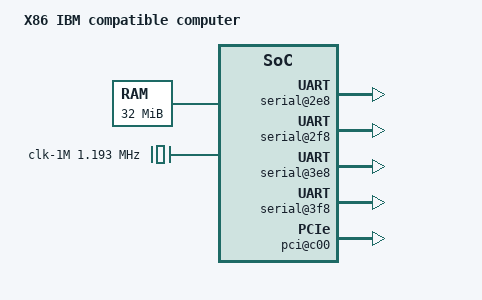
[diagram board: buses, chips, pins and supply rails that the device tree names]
/dts-v1/;

/ {
	model = "X86 IBM compatible computer";
	#address-cells = <0x01>;
	#size-cells = <0x01>;

	chosen {
	};

	memory@0 {
		device_type = "memory";
		reg = <0x00 0x2000000>;
	};

	clocks {

		clk-1M {
			#clock-cells = <0x00>;
			compatible = "fixed-clock";
			clock-frequency = <0x1234de>;
			phandle = <0x02>;
		};
	};

	isa {
		#address-cells = <0x01>;
		#size-cells = <0x01>;
		compatible = "isa-bus";

		dma-controller@0 {
			#dma-cells = <0x01>;
			compatible = "intel,i8237";
			reg = <0x00 0x20>;
			phandle = <0x04>;
		};

		interrupt-controller@20 {
			#interrupt-cells = <0x01>;
			#address-cells = <0x00>;
			compatible = "intel,i8259";
			reg = <0x20 0x20>;
			interrupt-controller;
			phandle = <0x01>;
		};

		timer@42 {
			compatible = "intel,i8253";
			reg = <0x40 0x20>;
			interrupt-parent = <0x01>;
			interrupts = <0x00>;
			clocks = <0x02>;
		};

		ps2@60 {
			compatible = "intel,i8042";
			reg = <0x60 0x08>;
			interrupt-names = "kbd\0aux";
			interrupts-extended = <0x01 0x01 0x03 0x04>;
		};

		rtc@71 {
			compatible = "motorola,mc146818";
			reg = <0x70 0x08>;
			interrupt-parent = <0x03>;
			interrupts = <0x00>;
		};

		interrupt-controller@a0 {
			#interrupt-cells = <0x01>;
			#address-cells = <0x00>;
			compatible = "intel,i8259";
			reg = <0xa0 0x20>;
			interrupt-controller;
			interrupt-parent = <0x01>;
			interrupts = <0x02>;
			phandle = <0x03>;
		};

		dma-controller@c0 {
			#dma-cells = <0x01>;
			compatible = "intel,i8237";
			reg = <0xc0 0x10>;
		};

		parallel@278 {
			compatible = "intel,i8255";
			reg = <0x278 0x08>;
			interrupt-parent = <0x01>;
			interrupts = <0x05>;
		};

		serial@2e8 {
			compatible = "intel,i8250";
			reg = <0x2e8 0x08>;
			interrupt-parent = <0x01>;
			interrupts = <0x03>;
		};

		serial@2f8 {
			compatible = "intel,i8250";
			reg = <0x2f8 0x08>;
			interrupt-parent = <0x01>;
			interrupts = <0x03>;
		};

		floppy@370 {
			compatible = "ibm,generic-floppy";
			reg = <0x370 0x08>;
			interrupt-parent = <0x01>;
			interrupts = <0x06>;
			dmas = <0x04 0x02>;
		};

		parallel@378 {
			compatible = "intel,i8255";
			reg = <0x378 0x08>;
			interrupt-parent = <0x01>;
			interrupts = <0x07>;
		};

		parallel@3bc {
			compatible = "intel,i8255";
			reg = <0x3bc 0x08>;
		};

		serial@3e8 {
			compatible = "intel,i8250";
			reg = <0x3e8 0x08>;
			interrupt-parent = <0x01>;
			interrupts = <0x04>;
		};

		floppy@3f0 {
			compatible = "ibm,generic-floppy";
			reg = <0x3f0 0x08>;
			interrupt-parent = <0x01>;
			interrupts = <0x06>;
			dmas = <0x04 0x02>;
		};

		serial@3f8 {
			compatible = "intel,i8250";
			reg = <0x3f8 0x08>;
			interrupt-parent = <0x01>;
			interrupts = <0x04>;
		};

		pci@c00 {
			compatible = "intel,i386-pci";
			reg = <0xc00 0x10>;
		};

		power@cf9 {
			compatible = "intel,piix-power";
			reg = <0xcf9 0x01>;
		};
	};
};
